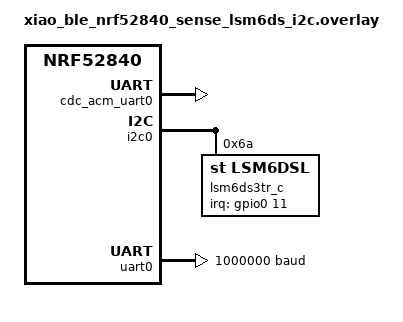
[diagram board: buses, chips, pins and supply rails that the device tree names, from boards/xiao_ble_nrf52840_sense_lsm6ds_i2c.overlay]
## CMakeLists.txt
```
#
# Copyright (c) 2024 TDK Invensense
#
# SPDX-License-Identifier: Apache-2.0
#

cmake_minimum_required(VERSION 3.20.0)
find_package(Zephyr REQUIRED HINTS $ENV{ZEPHYR_BASE})
project(tessen)

FILE(GLOB app_sources src/*.c)
target_sources(app PRIVATE ${app_sources})
```

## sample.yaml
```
sample:
  name: TESSEN Tennis Sensor sample
tests:
  sample.sensor.tessen:
    build_only: true
    tags: sensors
    filter: dt_alias_exists("6dof-motion-drdy0")
    integration_platforms:
      - nrf52dk/nrf52832
```

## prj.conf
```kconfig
#
# Copyright (c) 2024 TDK Invensense
#
# SPDX-License-Identifier: Apache-2.0
#

CONFIG_SENSOR=y
CONFIG_LOG=y
CONFIG_SENSOR_LOG_LEVEL_DBG=y
CONFIG_LOG_DEFAULT_LEVEL=1
CONFIG_LOG_MAX_LEVEL=4
#CONFIG_LOG_BUFFER_SIZE=2048
#CONFIG_LOG_MODE_IMMEDIATE=y

# Floating point format support
# Selecting this increases stack size requirements slightly, but increases code size significantly.
CONFIG_CBPRINTF_FP_SUPPORT=y

# nrf52dk/nrf52832 specific
CONFIG_USE_SEGGER_RTT=n

# LSM6DS sensor configuration
CONFIG_LSM6DSL=y
CONFIG_LSM6DSL_TRIGGER_OWN_THREAD=y
CONFIG_LSM6DSL_ENABLE_TEMP=y

# USB Console configuration
CONFIG_USB_DEVICE_STACK=y
CONFIG_USB_DEVICE_PRODUCT="TESSEN Tennis Sensor"
CONFIG_USB_DEVICE_PID=0x0004
CONFIG_USB_DEVICE_INITIALIZE_AT_BOOT=n

CONFIG_SERIAL=y
CONFIG_CONSOLE=y
CONFIG_UART_CONSOLE=y
CONFIG_UART_LINE_CTRL=y

# Bluetooth configuration (simplified for testing)
CONFIG_BT=y
CONFIG_BT_PERIPHERAL=y
CONFIG_BT_DEVICE_NAME="TESSEN Tennis Sensor"
CONFIG_BT_DEVICE_APPEARANCE=833
CONFIG_BT_DEVICE_NAME_DYNAMIC=y
CONFIG_BT_DEVICE_NAME_MAX=65

# GATT services for sensor data
CONFIG_BT_DIS=y
CONFIG_BT_BAS=y
CONFIG_BT_ATT_PREPARE_COUNT=10

# Bluetooth buffer configuration
CONFIG_BT_L2CAP_TX_BUF_COUNT=16
CONFIG_BT_L2CAP_TX_MTU=247
CONFIG_BT_BUF_ACL_RX_SIZE=251
CONFIG_BT_BUF_ACL_TX_SIZE=251
CONFIG_BT_BUF_EVT_RX_SIZE=255
CONFIG_BT_BUF_EVT_DISCARDABLE_SIZE=255
CONFIG_BT_BUF_CMD_TX_SIZE=255

# Settings and storage
CONFIG_BT_KEYS_OVERWRITE_OLDEST=y
CONFIG_BT_SETTINGS=y
CONFIG_FLASH=y
CONFIG_FLASH_MAP=y
CONFIG_NVS=y
CONFIG_SETTINGS=y

# Increased stack for bluetooth
CONFIG_SYSTEM_WORKQUEUE_STACK_SIZE=2048
CONFIG_MAIN_STACK_SIZE=2048
CONFIG_BT_HCI_TX_STACK_SIZE=1536
```

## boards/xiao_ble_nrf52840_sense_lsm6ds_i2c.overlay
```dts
/*
 * Copyright (c) 2024, TDK Invensense
 *
 * SPDX-License-Identifier: Apache-2.0
 */

/*
 * Get a node identifier for 6-axis IMU sensor.
 */
/ {
	aliases {
		6dof-motion-drdy0 = &lsm6ds3tr_c;
	};

	chosen {
		zephyr,console = &cdc_acm_uart0;
	};
};

&zephyr_udc0 {
	cdc_acm_uart0: cdc_acm_uart0 {
		compatible = "zephyr,cdc-acm-uart";
	};
};

/*
 * Example configuration of a LSM6DS3TR-C device on i2c0.
 *
 * Device address 0x6A is assumed. Your device may have a different
 * address; check your device documentation if unsure.
 */
&i2c0 {
	status = "okay";
	lsm6ds3tr_c: lsm6ds3tr-c@6a {
		compatible = "st,lsm6dsl";
		reg = <0x6a>;
		irq-gpios = <&gpio0 11 GPIO_ACTIVE_HIGH>;
	};
};

/*
 * Increase native UART speed to report all IMU data at 100Hz.
 */
&uart0 {
	compatible = "nordic,nrf-uarte";
	current-speed = <1000000>;
};
```

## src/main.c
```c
#include <stdio.h>
#include <stdint.h>
#include <string.h>

#include <zephyr/kernel.h>
#include <zephyr/device.h>
#include <zephyr/devicetree.h>
#include <zephyr/drivers/gpio.h>
#include <zephyr/drivers/i2c.h>
#include <zephyr/drivers/sensor.h>
#include <zephyr/drivers/uart.h>
#include <zephyr/usb/usb_device.h>

#include <zephyr/bluetooth/bluetooth.h>
#include <zephyr/bluetooth/conn.h>
#include <zephyr/bluetooth/gatt.h>
#include <zephyr/settings/settings.h>

// 사용자 정의 헤더
#include "Type.h"
#include "Const.h"
#include "SensorInfo.h"

/* 센서 관련 상수는 SensorInfo.h에서 정의됨 */
// BUILD_ASSERT(DT_NODE_HAS_COMPAT(DT_CHOSEN(zephyr_console), zephyr_cdc_acm_uart), "Console device is not ACM CDC UART device");

/* LED 관련 정의 */
#define LED0_NODE DT_ALIAS(led0)  // Red LED
#define LED1_NODE DT_ALIAS(led1)  // Green LED
#define LED2_NODE DT_ALIAS(led2)  // Blue LED

static const struct gpio_dt_spec led_red = GPIO_DT_SPEC_GET(LED0_NODE, gpios);
static const struct gpio_dt_spec led_green = GPIO_DT_SPEC_GET(LED1_NODE, gpios);
static const struct gpio_dt_spec led_blue = GPIO_DT_SPEC_GET(LED2_NODE, gpios);

static bool led_red_state = false;

/* Flag set from IMU device irq handler */
static struct sensor_trigger data_trigger;
static volatile int irq_from_device;

/* Bluetooth related variables */
#define TESSEN_SERVICE_UUID_VAL BT_UUID_128_ENCODE(0x12345678, 0x1234, 0x5678, 0x1234, 0x56789abcdef0)
static const struct bt_uuid_128 tessen_service_uuid = BT_UUID_INIT_128(TESSEN_SERVICE_UUID_VAL);
static const struct bt_uuid_128 tessen_data_uuid = BT_UUID_INIT_128(BT_UUID_128_ENCODE(0x12345678, 0x1234, 0x5678, 0x1234, 0x56789abcdef1));
static const struct bt_uuid_128 tessen_config_uuid = BT_UUID_INIT_128(BT_UUID_128_ENCODE(0x12345678, 0x1234, 0x5678, 0x1234, 0x56789abcdef2));

#define TESSEN_DATA_MAX_LEN (64)
static uint8 tessen_data[TESSEN_DATA_MAX_LEN];
static uint8 tessen_config[16];
static bool tessen_notify_enabled = false;

/* for debug */
static const char *timeStamp(void);

/* Bluetooth GATT service functions */
static ssize_t read_tessen_data(struct bt_conn *conn, const struct bt_gatt_attr *attr, void *buf, uint16 len, uint16 offset)
{
    return bt_gatt_attr_read(conn, attr, buf, len, offset, tessen_data, sizeof(tessen_data));
}

static ssize_t read_tessen_config(struct bt_conn *conn, const struct bt_gatt_attr *attr, void *buf, uint16_t len, uint16_t offset)
{
    return bt_gatt_attr_read(conn, attr, buf, len, offset, tessen_config, sizeof(tessen_config));
}

static ssize_t write_tessen_config(struct bt_conn *conn, const struct bt_gatt_attr *attr, const void *buf, uint16 len, uint16 offset, uint8_t flags)
{
    if (offset + len > sizeof(tessen_config)) {
        return BT_GATT_ERR(BT_ATT_ERR_INVALID_OFFSET);
    }

    memcpy(tessen_config + offset, buf, len);
    return len;
}

static void tessen_ccc_cfg_changed(const struct bt_gatt_attr *attr, uint16_t value)
{
    tessen_notify_enabled = (value == BT_GATT_CCC_NOTIFY) ? true : false;
    printf("[%s] TESSEN notifications %s (value: 0x%04x)\n", timeStamp(), tessen_notify_enabled ? "enabled" : "disabled", value);
}

/* TESSEN Custom GATT Service */
BT_GATT_SERVICE_DEFINE(tessen_svc,
    BT_GATT_PRIMARY_SERVICE(&tessen_service_uuid),
    BT_GATT_CHARACTERISTIC(&tessen_data_uuid.uuid,
                           BT_GATT_CHRC_READ | BT_GATT_CHRC_NOTIFY,
                           BT_GATT_PERM_READ,
                           read_tessen_data, NULL, NULL),
    BT_GATT_CCC(tessen_ccc_cfg_changed,
                BT_GATT_PERM_READ | BT_GATT_PERM_WRITE),
    BT_GATT_CHARACTERISTIC(&tessen_config_uuid.uuid,
                           BT_GATT_CHRC_READ | BT_GATT_CHRC_WRITE,
                           BT_GATT_PERM_READ | BT_GATT_PERM_WRITE,
                           read_tessen_config, write_tessen_config, NULL),
);

/* Bluetooth advertising data */
static const struct bt_data ad[] = {
    BT_DATA_BYTES(BT_DATA_FLAGS, (BT_LE_AD_GENERAL | BT_LE_AD_NO_BREDR)),
    BT_DATA_BYTES(BT_DATA_UUID16_ALL,
                  BT_UUID_16_ENCODE(BT_UUID_BAS_VAL)),
    BT_DATA_BYTES(BT_DATA_UUID128_ALL, TESSEN_SERVICE_UUID_VAL),
};

static const struct bt_data sd[] = {
    BT_DATA(BT_DATA_NAME_COMPLETE, CONFIG_BT_DEVICE_NAME, sizeof(CONFIG_BT_DEVICE_NAME) - 1),
};

/* Bluetooth connection callbacks */
static void connected(struct bt_conn *conn, uint8_t err)
{
    if (err) {
        printf("Connection failed, err 0x%02x\n", err);
    } else {
        printf("Connected - GATT services ready\n");
        printf("TESSEN service UUID: 12345678-1234-5678-1234-56789abcdef0\n");
        printf("Data characteristic UUID: 12345678-1234-5678-1234-56789abcdef1\n");
        printf("Config characteristic UUID: 12345678-1234-5678-1234-56789abcdef2\n");
    }
}

static void disconnected(struct bt_conn *conn, uint8_t reason)
{
    printf("[%s] Disconnected, reason 0x%02x\n", timeStamp(), reason);
    tessen_notify_enabled = false;  // 연결 끊어지면 알림 비활성화.
}

BT_CONN_CB_DEFINE(conn_callbacks) = {
    .connected = connected,
    .disconnected = disconnected,
};

/* Bluetooth ready callback */
static void bt_ready(void)
{
    int err;

    printf("[%s] Bluetooth initialized\n", timeStamp());
    printf("[%s] GATT services registered:\n", timeStamp());
    printf("  - TESSEN Service: 12345678-1234-5678-1234-56789abcdef0\n");
    printf("  - Data Characteristic: 12345678-1234-5678-1234-56789abcdef1 (Read+Notify)\n");
    printf("  - Config Characteristic: 12345678-1234-5678-1234-56789abcdef2 (Read+Write)\n");

    if (IS_ENABLED(CONFIG_SETTINGS)) {
        settings_load();
    }

    err = bt_le_adv_start(BT_LE_ADV_CONN_FAST_1, ad, ARRAY_SIZE(ad), sd, ARRAY_SIZE(sd));
    if (err) {
        printf("Advertising failed to start (err %d)\n", err);
        return;
    }

    printf("[%s] Advertising successfully started\n", timeStamp());
}

/* Function to send sensor data via bluetooth */
static void send_sensor_data_bt(struct sensor_value *accel, struct sensor_value *gyro,
                                struct sensor_value *temperature)
{
    if (!tessen_notify_enabled) {
        static int debug_count = 0;
        if (++debug_count % 10 == 0) {  // 10번에 한 번씩 출력 (더 자주)
            printf("[%s] DEBUG: Notifications disabled (count: %d)\n", timeStamp(), debug_count);
        }
        return;
    }

    /* BUG FIX: 1Hz 속도 제한 로직 제거 */

    // Pack sensor data into tessen_data buffer
    // Format: [accel_x][accel_y][accel_z][gyro_x][gyro_y][gyro_z][temp]
    int16_t *data_ptr = (int16_t *)tessen_data;

    data_ptr[0] = (int16_t)(sensor_value_to_double(&accel[0]) * 1000); // accel_x
    data_ptr[1] = (int16_t)(sensor_value_to_double(&accel[1]) * 1000); // accel_y
    data_ptr[2] = (int16_t)(sensor_value_to_double(&accel[2]) * 1000); // accel_z
    data_ptr[3] = (int16_t)(sensor_value_to_double(&gyro[0]) * 1000);  // gyro_x
    data_ptr[4] = (int16_t)(sensor_value_to_double(&gyro[1]) * 1000);  // gyro_y
    data_ptr[5] = (int16_t)(sensor_value_to_double(&gyro[2]) * 1000);  // gyro_z
    data_ptr[6] = (int16_t)(sensor_value_to_double(temperature) * 100); // temp

    // Safe notification - only if connected
    printf("[%s] Sending sensor data via Bluetooth\n", timeStamp());
    int err = bt_gatt_notify(NULL, &tessen_svc.attrs[1], tessen_data, 14);
    printf("[%s] BT notification result: %d\n", timeStamp(), err);

    if (err < 0) {
        // A notification error doesn't necessarily mean the connection is lost.
        // It could be a temporary issue like a full buffer.
        // The 'disconnected' callback is the reliable place to manage connection state.
        printf("[%s] BT notification failed (err: %d)\n", timeStamp(), err);
    }
    else {
        static int success_count = 0;
        success_count++;
        if (success_count % 10 == 0) {  // 10번에 한 번씩 출력 (더 자주)
            printf("[%s] DEBUG: BT notification sent successfully (count: %d)\n", timeStamp(), success_count);
        }
    }
    printf("[%s] Sensor data sent via Bluetooth\n", timeStamp());
}

/* 간단한 I2C 레지스터 읽기 함수 */
static int read_sensor_reg(const struct device *devI2c, uint8_t reg, uint8_t *data)
{
    uint8_t write_buf[1] = {reg};
    struct i2c_msg msgs[2];

    msgs[0].buf = write_buf;
    msgs[0].len = 1;
    msgs[0].flags = I2C_MSG_WRITE | I2C_MSG_STOP;

    msgs[1].buf = data;
    msgs[1].len = 1;
    msgs[1].flags = I2C_MSG_READ | I2C_MSG_STOP;

    return i2c_transfer(devI2c, msgs, 2, LSM6DS_I2C_ADDR);
}

/* I2C 레지스터 쓰기 함수 */
static int write_sensor_reg(const struct device *devI2c, uint8_t reg, uint8_t data)
{
    uint8_t write_buf[2] = {reg, data};
    struct i2c_msg msgs[1];

    msgs[0].buf = write_buf;
    msgs[0].len = 2;
    msgs[0].flags = I2C_MSG_WRITE | I2C_MSG_STOP;

    return i2c_transfer(devI2c, msgs, 1, LSM6DS_I2C_ADDR);
}

/* 센서 활성화 함수 */
static int activate_sensor_directly(const struct device *devI2c)
{
    int rc = 0;
    printf("[%s] === Activating Sensor Directly ===\n", timeStamp());

    /* CTRL1_XL 설정: 가속도계 활성화 (104Hz, ±2g) */
    rc = write_sensor_reg(devI2c, LSM6DSL_REG_CTRL1_XL, LSM6DS_CTRL1_XL_104HZ_2G);

    /* CTRL2_G 설정: 자이로스코프 활성화 (104Hz, ±250dps) */
    rc = write_sensor_reg(devI2c, LSM6DSL_REG_CTRL2_G, LSM6DS_CTRL2_G_104HZ_250DPS);

    /* CTRL3_C 설정: 기본 설정 유지 */
    rc = write_sensor_reg(devI2c, LSM6DSL_REG_CTRL3_C, LSM6DS_CTRL3_C_DEFAULT);

    return 0;
}

/*
 * Get a device structure from a devicetree node from alias
 * "6dof_motion_drdy0".
 */
static const struct device *get_tessen_devSensorice(void)
{
    const struct device *const dev = DEVICE_DT_GET(DT_ALIAS(6dof_motion_drdy0));

    if (!device_is_ready(dev)) {
        printk("\nError: Device \"%s\" is not ready; "
               "check the driver initialization logs for errors.\n",
               dev->name);
        return NULL;
    }

    printk("Found device \"%s\", getting sensor data\n", dev->name);
    return dev;
}

static const char *timeStamp(void)
{
    static char buf[16]; /* ...HH:MM:SS.MMM */
    uint32_t now = k_uptime_get_32();
    unsigned int ms = now % MSEC_PER_SEC;
    unsigned int s;
    unsigned int min;
    unsigned int h;

    now /= MSEC_PER_SEC;
    s = now % 60U;
    now /= 60U;
    min = now % 60U;
    now /= 60U;
    h = now;

    snprintf(buf, sizeof(buf), "%u:%02u:%02u.%03u", h, min, s, ms);
    return buf;
}

static void handle_tessen_sensor_data(const struct device *dev, const struct sensor_trigger *trig)
{
    //printf("IRQ triggered! Type: %d, Channel: %d\n", trig->type, trig->chan);

    if (trig->type == SENSOR_TRIG_DATA_READY) {
        int rc = sensor_sample_fetch_chan(dev, trig->chan);

        if (rc < 0) {
            printf("sample fetch failed: %d, not cancelling trigger.\n", rc);
            //(void)sensor_trigger_set(dev, trig, NULL); // BUG FIX: DO NOT DISABLE IRQ
            return;
        }
        else if (rc == 0) {
            //printf("Sample fetch successful, setting irq flag\n");
            irq_from_device = 1;
        }
    }
}

int32 initUSB()
{
    const struct device *const devConsole = DEVICE_DT_GET(DT_CHOSEN(zephyr_console));
    int32 ret = 0; // 0: success, -1: error, -2: timeout
    uint32 dtr = 0;
    if (usb_enable(NULL)) {
        ret = -1;
    }
    else {
        /* Poll if the DTR flag was set */
        while (!dtr) {
            uart_line_ctrl_get(devConsole, UART_LINE_CTRL_DTR, &dtr);
            /* Give CPU resources to low priority threads. */
            k_sleep(K_MSEC(100));
            if (++dtr > 50) {
                printf("[%s] USB Console initialization timeout\n", timeStamp());
                ret = -2;
                break;
            }
        }
        printf("[%s] USB Console initialized. Starting TESSEN tennis sensor...\n", timeStamp());
    }
    return ret;
}

void initLED()
{
    // Red LED 초기화.
    if (!gpio_is_ready_dt(&led_red)) {
        printf("Red LED device not ready\n");
    }
    else {
        int ret = gpio_pin_configure_dt(&led_red, GPIO_OUTPUT_ACTIVE);
        if (ret < 0) {
            printf("Failed to configure Red LED: %d\n", ret);
        }
        else {
            printf("[%s] Red LED initialized\n", timeStamp());
        }
    }

    // Green LED 초기화.
    if (!gpio_is_ready_dt(&led_green)) {
        printf("Green LED device not ready\n");
    }
    else {
        int ret = gpio_pin_configure_dt(&led_green, GPIO_OUTPUT_ACTIVE);
        if (ret < 0) {
            printf("Failed to configure Green LED: %d\n", ret);
        }
        else {
            printf("[%s] Green LED initialized\n", timeStamp());
        }
    }

    // Blue LED 초기화.
    if (!gpio_is_ready_dt(&led_blue)) {
        printf("Blue LED device not ready\n");
    }
    else {
        int ret = gpio_pin_configure_dt(&led_blue, GPIO_OUTPUT_ACTIVE);
        if (ret < 0) {
            printf("Failed to configure Blue LED: %d\n", ret);
        }
        else {
            printf("[%s] Blue LED initialized\n", timeStamp());
        }
    }
}

int main(void)
{
    uint32 dtr = 0;
    int rc;

    initUSB();
    initLED();

    // initBluetooth();
    rc = bt_enable(NULL);
    if (rc) {
        printf("Bluetooth init failed (err %d)\n", rc);
        return 0;
    }

    bt_ready();

    // init gyro sensor.
    const struct device *devSensor = get_tessen_devSensorice();
    struct sensor_value accel[3];
    struct sensor_value gyro[3];
    struct sensor_value temperature;

    if (devSensor == NULL) {
        printf("Sensor device not found. Exiting...\n");
        return 0;
    }

    k_sleep(K_MSEC(5000));

    /* I2C 디바이스 초기화 및 직접 레지스터 접근 테스트 */
    printf("Initializing I2C device for direct register access...\n");
    const struct device *devI2c = DEVICE_DT_GET(DT_NODELABEL(i2c0));

    activate_sensor_directly(devI2c);


    #if 1
    data_trigger = (struct sensor_trigger) {
        .type = SENSOR_TRIG_DATA_READY,
        .chan = SENSOR_CHAN_ALL,
    };

    if (sensor_trigger_set(devSensor, &data_trigger, handle_tessen_sensor_data) < 0) {
        printf("Cannot configure data trigger!!!\n");
        return 0;
    }
    #endif

    uint32 sampleCount = 0;
    uint32 ledTimer = 0;

    while (1) {
        sampleCount++;

        /* Red LED 깜빡임 (1초마다) */
        ledTimer++;
        if (ledTimer >= 10) {  // 100ms * 10 = 1초
            ledTimer = 0;
            led_red_state = !led_red_state;
            gpio_pin_set_dt(&led_red, led_red_state);
            //printf("Red LED %s\n", led_red_state ? "ON" : "OFF");
        }

        if (irq_from_device) { // irq mode
            sensor_channel_get(devSensor, SENSOR_CHAN_ACCEL_XYZ, accel);
            sensor_channel_get(devSensor, SENSOR_CHAN_GYRO_XYZ, gyro);
            sensor_channel_get(devSensor, SENSOR_CHAN_DIE_TEMP, &temperature);

            printf("[%s] #%d: temp %.2f accel %f %f %f m/s/s gyro %f %f %f rad/s\n",
                timeStamp(), sampleCount, sensor_value_to_double(&temperature),
                sensor_value_to_double(&accel[0]), sensor_value_to_double(&accel[1]),
                sensor_value_to_double(&accel[2]), sensor_value_to_double(&gyro[0]),
                sensor_value_to_double(&gyro[1]), sensor_value_to_double(&gyro[2]));

            // Send sensor data via Bluetooth
            send_sensor_data_bt(accel, gyro, &temperature);

            irq_from_device = 0;
        }

        k_sleep(K_MSEC(SENSOR_POLL_INTERVAL_MS)); /* 센서 폴링 주기 */
    }
    return 0;
}
```

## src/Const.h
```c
#ifndef __CONST_H__
#define __CONST_H__

#include "Type.h"

/* ============================================================================
 * 일반 상수 정의
 * ============================================================================ */

/* 불린 상수 */
#define TRUE        (1)
#define FALSE       (0)

/* NULL 포인터 */
#define NULL_PTR    ((void*)0)

/* 일반적인 크기 상수 */
#define BYTE_SIZE   (1)
#define WORD_SIZE   (2)
#define DWORD_SIZE  (4)
#define QWORD_SIZE  (8)

/* ============================================================================
 * 유틸리티 매크로
 * ============================================================================ */

/* 배열 크기 매크로는 Zephyr에서 제공됨 */

/* 절댓값 매크로 */
#define ABS(a) ((a) < 0 ? -(a) : (a))

/* 비트 조작 매크로 (Zephyr에서 제공하지 않는 것만) */
#define SET_BIT(reg, bit) ((reg) |= (bit))
#define CLEAR_BIT(reg, bit) ((reg) &= ~(bit))
#define TOGGLE_BIT(reg, bit) ((reg) ^= (bit))

/* 바이트 조작 매크로 */
#define HIGH_BYTE(word) ((uint8)((word) >> 8))
#define LOW_BYTE(word)  ((uint8)((word) & 0xFF))
#define MAKE_WORD(high, low) ((uint16)(((high) << 8) | (low)))

/* 메모리 조작 매크로 */
#define MEMSET(ptr, val, size) memset((ptr), (val), (size))
#define MEMCPY(dst, src, size) memcpy((dst), (src), (size))
#define MEMCMP(ptr1, ptr2, size) memcmp((ptr1), (ptr2), (size))

/* 문자열 조작 매크로 */
#define STRLEN(str) strlen(str)
#define STRCPY(dst, src) strcpy((dst), (src))
#define STRCMP(str1, str2) strcmp((str1), (str2))

/* ============================================================================
 * 디버그 관련 정의
 * ============================================================================ */

/* 디버그 레벨 */
typedef enum _DEBUG_LEVEL {
    DEBUG_LEVEL_NONE = 0,
    DEBUG_LEVEL_ERROR,
    DEBUG_LEVEL_WARNING,
    DEBUG_LEVEL_INFO,
    DEBUG_LEVEL_DEBUG,

    DEBUG_LEVEL_MAX
} DEBUG_LEVEL;

/* 디버그 매크로 (나중에 구현) */
#define DEBUG_PRINT(level, fmt, ...) \
    do { \
        if ((level) <= DEBUG_LEVEL_INFO) { \
            printk(fmt, ##__VA_ARGS__); \
        } \
    } while (0)

#define DEBUG_ERROR(fmt, ...)   DEBUG_PRINT(DEBUG_LEVEL_ERROR, fmt, ##__VA_ARGS__)
#define DEBUG_WARNING(fmt, ...) DEBUG_PRINT(DEBUG_LEVEL_WARNING, fmt, ##__VA_ARGS__)
#define DEBUG_INFO(fmt, ...)    DEBUG_PRINT(DEBUG_LEVEL_INFO, fmt, ##__VA_ARGS__)
#define DEBUG_DEBUG(fmt, ...)   DEBUG_PRINT(DEBUG_LEVEL_DEBUG, fmt, ##__VA_ARGS__)

#endif /* __CONST_H__ */
```

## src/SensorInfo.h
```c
#ifndef __SENSOR_INFO_H__
#define __SENSOR_INFO_H__

#include "Type.h"
#include "Const.h"

/* ============================================================================
 * 센서 관련 상수 정의
 * ============================================================================ */

/* LSM6DS 센서 I2C 주소 */
#define LSM6DS_I2C_ADDR         (0x6A)

/* LSM6DS 레지스터 주소 */
#define LSM6DSL_REG_CTRL1_XL    (0x10)
#define LSM6DSL_REG_CTRL2_G     (0x11)
#define LSM6DSL_REG_CTRL3_C     (0x12)
#define LSM6DSL_REG_WHO_AM_I    (0x0F)
#define LSM6DSL_REG_OUT_TEMP_L  (0x20)
#define LSM6DSL_REG_OUTX_L_G    (0x22)
#define LSM6DSL_REG_OUTX_L_XL   (0x28)

/* 센서 설정 값 */
#define LSM6DS_CTRL1_XL_104HZ_2G    (0x60)  /* ODR_XL = 104Hz, FS_XL = ±2g */
#define LSM6DS_CTRL2_G_104HZ_250DPS (0x60)  /* ODR_G = 104Hz, FS_G = ±250dps */
#define LSM6DS_CTRL3_C_DEFAULT      (0x44)  /* 기본 설정 */

/* 센서 샘플링 주기 */
#define SENSOR_SAMPLE_INTERVAL_MS   (10)    /* 100Hz */
#define SENSOR_POLL_INTERVAL_MS     (100)   /* 10Hz */

/* ============================================================================
 * 센서 데이터 구조체 정의
 * ============================================================================ */

/* 3축 벡터 구조체 */
typedef struct _Vector3DData{
    float x;
    float y;
    float z;
} Vector3DData;

/* 센서 원시 데이터 구조체 */
typedef struct {
    Vector3DData accel;        /* 가속도계 데이터 (m/s²) */
    Vector3DData gyro;         /* 자이로스코프 데이터 (rad/s) */
    float        temperature;  /* 온도 데이터 (°C) */
    uint32       timestamp;    /* 타임스탬프 (ms) */
    uint32       sample_count; /* 샘플 카운터 */
} SENSOR_DATA_T;

/* 센서 설정 구조체 */
typedef struct {
    uint8 ctrl1_xl;    /* CTRL1_XL 레지스터 값 */
    uint8 ctrl2_g;     /* CTRL2_G 레지스터 값 */
    uint8 ctrl3_c;     /* CTRL3_C 레지스터 값 */
} SENSOR_CONFIG_T;

/* 센서 상태 구조체 */
typedef struct {
    bool is_initialized;     /* 초기화 상태 */
    bool is_data_ready;      /* 데이터 준비 상태 */
    bool is_irq_enabled;     /* 인터럽트 활성화 상태 */
    uint32  error_count;        /* 에러 카운터 */
    uint32  sample_count;       /* 샘플 카운터 */
} SENSOR_STATUS_T;

/* ============================================================================
 * 센서 함수 반환값 정의
 * ============================================================================ */

/* 센서 함수 반환값 타입 */
typedef enum _SENSOR_RESULT {
    SENSOR_OK = 0,              /* 성공 */
    SENSOR_ERROR = -1,          /* 일반 에러 */
    SENSOR_INVALID_PARAM,       /* 잘못된 파라미터 */
    SENSOR_NOT_INITIALIZED,     /* 초기화되지 않음 */
    SENSOR_TIMEOUT,             /* 타임아웃 */
    SENSOR_BUSY,                /* 바쁨 */
    SENSOR_NOT_SUPPORTED,       /* 지원되지 않음 */
    SENSOR_I2C_ERROR,           /* I2C 통신 에러 */
    SENSOR_REGISTER_ERROR       /* 레지스터 접근 에러 */
} SENSOR_RESULT;

/* ============================================================================
 * 센서 관련 유틸리티 매크로
 * ============================================================================ */

/* 센서 데이터 유효성 검사 */
#define IS_VALID_SENSOR_DATA(data) \
    ((data) != NULL && (data)->sample_count > 0)

/* 센서 값 범위 검사 */
#define IS_VALID_ACCEL_RANGE(val) \
    ((val) >= -20.0f && (val) <= 20.0f)  /* ±20g 범위 */

#define IS_VALID_GYRO_RANGE(val) \
    ((val) >= -2000.0f && (val) <= 2000.0f)  /* ±2000dps 범위 */

#define IS_VALID_TEMP_RANGE(val) \
    ((val) >= -40.0f && (val) <= 85.0f)  /* -40°C ~ 85°C 범위 */

/* 센서 데이터 크기 */
#define SENSOR_DATA_SIZE         (sizeof(SENSOR_DATA_T))
#define VECTOR3D_DATA_SIZE       (sizeof(Vector3DData))

/* 센서 버퍼 크기 */
#define SENSOR_BUFFER_SIZE       (256)
#define SENSOR_QUEUE_SIZE        (32)

#endif /* __SENSOR_INFO_H__ */
```

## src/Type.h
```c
#ifndef __TYPE_H__
#define __TYPE_H__

#include <zephyr/types.h>
#include <stdint.h>
#include <stdbool.h>
#include <string.h>
#include <stdio.h>

/* ============================================================================
 * 아이디스 스타일 타입 정의
 * ============================================================================ */

/* 기본 정수 타입 (아이디스 스타일) */
typedef uint8_t     uint8;
typedef uint16_t    uint16;
typedef uint32_t    uint32;
typedef uint64_t    uint64;
typedef int8_t      int8;
typedef int16_t     int16;
typedef int32_t     int32;
typedef int64_t     int64;

/* 사용자 정의 타입 (아이디스 스타일) */
typedef uint8       U8;
typedef uint16      U16;
typedef uint32      U32;
typedef uint64      U64;
typedef int8        S8;
typedef int16       S16;
typedef int32       S32;
typedef int64       S64;

/* 부동소수점 타입 */
typedef float       F32;
typedef double      F64;

/* 불린 타입 */
typedef bool        BOOL;

/* 포인터 타입 */
typedef void*       PVOID;

/* 센서 관련 정의는 SensorInfo.h에서 관리됨 */
/* 상수, 매크로, 디버그 관련 정의는 Const.h에서 관리됨 */

/* ============================================================================
 * 함수 반환값 정의
 * ============================================================================ */

/* 일반 함수 반환값 타입 */
typedef enum _TESSEN_RESULT {
    TESSEN_OK = 0,          /* 성공 */
    TESSEN_ERROR = -1,      /* 일반 에러 */
    TESSEN_INVALID_PARAM,   /* 잘못된 파라미터 */
    TESSEN_NOT_INITIALIZED, /* 초기화되지 않음 */
    TESSEN_TIMEOUT,         /* 타임아웃 */
    TESSEN_BUSY,            /* 바쁨 */
    TESSEN_NOT_SUPPORTED,   /* 지원되지 않음 */

    TESSEN_RESULT_MAX
} TESSEN_RESULT;


#endif /* __TYPE_H__ */
```
